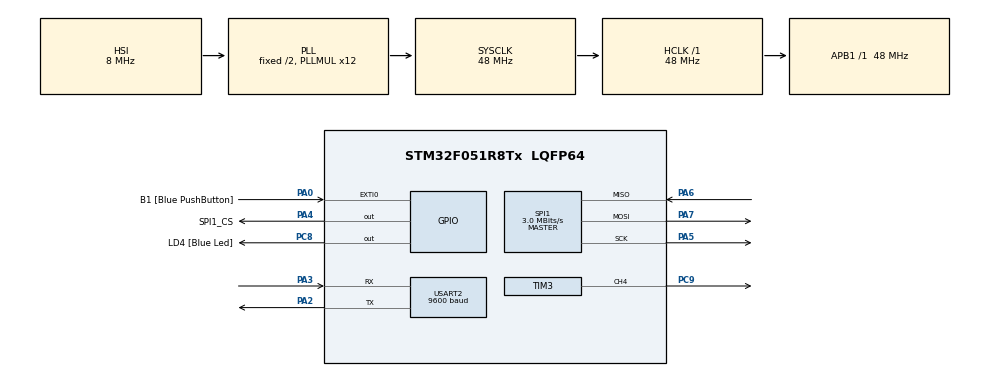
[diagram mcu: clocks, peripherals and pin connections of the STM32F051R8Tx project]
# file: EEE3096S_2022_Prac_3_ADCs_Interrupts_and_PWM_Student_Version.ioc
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Dma.Request0=USART2_TX
Dma.USART2_TX.0.Direction=DMA_MEMORY_TO_PERIPH
Dma.USART2_TX.0.Instance=DMA1_Channel4
Dma.USART2_TX.0.MemDataAlignment=DMA_MDATAALIGN_BYTE
Dma.USART2_TX.0.MemInc=DMA_MINC_ENABLE
Dma.USART2_TX.0.Mode=DMA_NORMAL
Dma.USART2_TX.0.PeriphDataAlignment=DMA_PDATAALIGN_BYTE
Dma.USART2_TX.0.PeriphInc=DMA_PINC_DISABLE
Dma.USART2_TX.0.Priority=DMA_PRIORITY_LOW
Mcu.Family=STM32F0
Mcu.Name=STM32F051R8Tx
Mcu.Package=LQFP64
NVIC.DMA1_Channel4_5_IRQn=true\:0\:0\:false\:false\:true\:false\:true\:true
NVIC.EXTI0_1_IRQn=true\:0\:0\:false\:false\:true\:true\:true\:true
NVIC.USART2_IRQn=true\:0\:0\:false\:false\:true\:true\:true\:true
PA0.GPIO_Label=B1 [Blue PushButton]
PA0.GPIO_ModeDefaultEXTI=GPIO_MODE_IT_FALLING
PA0.Signal=GPXTI0
PA13.GPIO_Label=SWDIO
PA13.Mode=Serial_Wire
PA13.Signal=SYS_SWDIO
PA14.GPIO_Label=SWCLK
PA14.Mode=Serial_Wire
PA14.Signal=SYS_SWCLK
PA2.Mode=Asynchronous
PA2.Signal=USART2_TX
PA3.Mode=Asynchronous
PA3.Signal=USART2_RX
PA4.GPIO_Label=SPI1_CS
PA4.Signal=GPIO_Output
PA5.Mode=Full_Duplex_Master
PA5.Signal=SPI1_SCK
PA6.Mode=Full_Duplex_Master
PA6.Signal=SPI1_MISO
PA7.Mode=Full_Duplex_Master
PA7.Signal=SPI1_MOSI
PC14-OSC32_IN.Mode=LSE-External-Oscillator
PC14-OSC32_IN.Signal=RCC_OSC32_IN
PC15-OSC32_OUT.Mode=LSE-External-Oscillator
PC15-OSC32_OUT.Signal=RCC_OSC32_OUT
PC8.GPIO_Label=LD4 [Blue Led]
PC8.Signal=GPIO_Output
PC9.Signal=S_TIM3_CH4
PF0-OSC_IN.Mode=HSE-External-Oscillator
PF0-OSC_IN.Signal=RCC_OSC_IN
PF1-OSC_OUT.Mode=HSE-External-Oscillator
PF1-OSC_OUT.Signal=RCC_OSC_OUT
ProjectManager.HeapSize=0x200
ProjectManager.StackSize=0x400
ProjectManager.TargetToolchain=STM32CubeIDE
RCC.AHBFreq_Value=48000000
RCC.APB1Freq_Value=48000000
RCC.APB1TimFreq_Value=48000000
RCC.HCLKFreq_Value=48000000
RCC.PLLMUL=RCC_PLL_MUL12
RCC.SYSCLKFreq_VALUE=48000000
RCC.SYSCLKSource=RCC_SYSCLKSOURCE_PLLCLK
SH.S_TIM3_CH4.0=TIM3_CH4,PWM Generation4 CH4
SPI1.BaudRatePrescaler=SPI_BAUDRATEPRESCALER_16
SPI1.CLKPhase=SPI_PHASE_2EDGE
SPI1.CLKPolarity=SPI_POLARITY_HIGH
SPI1.CalculateBaudRate=3.0 MBits/s
SPI1.DataSize=SPI_DATASIZE_8BIT
SPI1.Direction=SPI_DIRECTION_2LINES
SPI1.Mode=SPI_MODE_MASTER
SPI1.VirtualType=VM_MASTER
TIM3.AutoReloadPreload=TIM_AUTORELOAD_PRELOAD_ENABLE
TIM3.Channel-PWM\ Generation4\ CH4=TIM_CHANNEL_4
TIM3.Period=47999
USART2.BaudRate=9600
USART2.VirtualMode-Asynchronous=VM_ASYNC
VP_TIM3_VS_ClockSourceINT.Mode=Internal
board=STM32F0DISCOVERY

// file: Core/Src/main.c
/* USER CODE BEGIN Header */
/**
*******************************************************
Info:		STM32 ADCs, GPIO Interrupts and PWM with HAL
Author:		Amaan Vally
*******************************************************
In this practical you will learn to use the ADC on the STM32 using the HAL.
Here, we will be measuring the voltage on a potentiometer and using its value
to adjust the brightness of the on board LEDs. We set up an interrupt to switch the
display between the blue and green LEDs.

Code is also provided to send data from the STM32 to other devices using UART protocol
by using HAL. You will need Putty or a Python script to read from the serial port on your PC.

UART Connections are as follows: 5V->5V GND->GND RXD->PA2 TXD->PA3(unused).
Open device manager and go to Ports. Plug in the USB connector with the STM powered on.
Check the port number (COMx). Open up Putty and create a new Serial session on that COMx
with baud rate of 9600.
  ******************************************************************************
  */
/* USER CODE END Header */
#include "main.h"

/* USER CODE BEGIN Includes */
#include "icm20948.h"
#include "stdio.h"
#include <float.h>
/* USER CODE END Includes */

/* USER CODE BEGIN PD */
#define FLT_STRING_SIZE (1+1+1+(FLT_DECIMAL_DIG-1)+1+1+ 4   +1)
                     //  - d .  dddddddd           e - dddd \0
/* USER CODE END PD */

SPI_HandleTypeDef hspi1;

TIM_HandleTypeDef htim3;

UART_HandleTypeDef huart2;
DMA_HandleTypeDef hdma_usart2_tx;

/* USER CODE BEGIN PV */
char buffer[32];
static float gyro_scale_factor;
static float accel_scale_factor;
axises my_gyro;
axises my_accel;
axises my_mag;
//TO DO:
//TASK 1
//Create global variables for debouncing and delay interval

/* USER CODE END PV */

void SystemClock_Config(void);
static void MX_GPIO_Init(void);
static void MX_DMA_Init(void);
static void MX_USART2_UART_Init(void);
static void MX_TIM3_Init(void);
static void MX_SPI1_Init(void);
/* USER CODE BEGIN PFP */
void EXTI0_1_IRQHandler(void);
uint32_t pollADC(void);
uint32_t ADCtoCRR(uint32_t adc_val);

static void     cs_high();
static void     cs_low();

static void     select_user_bank(userbank ub);

static uint8_t  read_single_icm20948_reg(userbank ub, uint8_t reg);
static void     write_single_icm20948_reg(userbank ub, uint8_t reg, uint8_t val);
static uint8_t* read_multiple_icm20948_reg(userbank ub, uint8_t reg, uint8_t len);
static void     write_multiple_icm20948_reg(userbank ub, uint8_t reg, uint8_t* val, uint8_t len);

static uint8_t  read_single_ak09916_reg(uint8_t reg);
static void     write_single_ak09916_reg(uint8_t reg, uint8_t val);
static uint8_t* read_multiple_ak09916_reg(uint8_t reg, uint8_t len);
/* USER CODE END PFP */

int main(void)
{

  /* MCU Configuration--------------------------------------------------------*/

  /* Reset of all peripherals, Initializes the Flash interface and the Systick. */
  HAL_Init();

  /* Configure the system clock */
  SystemClock_Config();

  /* Initialize all configured peripherals */
  MX_GPIO_Init();
  MX_DMA_Init();
  MX_USART2_UART_Init();
  MX_TIM3_Init();
  MX_SPI1_Init();
  /* USER CODE BEGIN 2 */
  icm20948_init();
  ak09916_init();
  //TO DO:
  //char buffer[16];
  //Create variables needed in while loop

  void debugPrintln(UART_HandleTypeDef *uart_handle,char _out[])
   {
   	HAL_GPIO_TogglePin(GPIOC, GPIO_PIN_8);
   	HAL_UART_Transmit(uart_handle, (uint8_t *) _out,strlen(_out), 60);
   	char newline[2] = "\r\n";
   	HAL_UART_Transmit(uart_handle, (uint8_t *)newline, 2, 10);

   }

  uint16_t accel_data[3];
  uint16_t gyro_data[3];
  int16_t mag_data[3];
  /* USER CODE END 2 */

  /* Infinite loop */
  /* USER CODE BEGIN WHILE */
  while (1)
  {
	 // EXTI0_1_IRQHandler();
	  HAL_GPIO_TogglePin(GPIOC, GPIO_PIN_8); // Toggle blue LED
	  //pollADC();
	  //TO DO:
	  //TASK 2
	  //Test your pollADC function and display via UART

	 			  // raw data
	 			        icm20948_gyro_read(&my_gyro);
	 			        accel_data[0] = my_gyro.x;
	 			        float x = my_gyro.x;
	 			        sprintf(buffer, "%.*e", FLT_DECIMAL_DIG-1, x);
	 			       snprintf(buffer, sizeof(buffer), "%f",x );
	 			       //sprintf(buffer, "hello world");
	 			        icm20948_accel_read(&my_accel);
	 			        ak09916_mag_read(&my_mag);

	 			    debugPrintln(&huart2, buffer);

	 			        // or unit conversion
	 			        //icm20948_gyro_read_dps(&my_gyro);
	 			        //icm20948_accel_read_g(&my_accel);
	 			        //ak09916_mag_read_uT(&my_mag);
	 			        // Indicate End of Sequence with "Z"
	 			        //HAL_UART_Transmit(&huart2, (uint8_t*)"Z", sizeof("Z"), 1000);
	 			        HAL_Delay(1500); // Delay for 100ms

    /* USER CODE END WHILE */

  }
}

void SystemClock_Config(void)
{
  RCC_OscInitTypeDef RCC_OscInitStruct = {0};
  RCC_ClkInitTypeDef RCC_ClkInitStruct = {0};

  /** Initializes the RCC Oscillators according to the specified parameters
  * in the RCC_OscInitTypeDef structure.
  */
  RCC_OscInitStruct.OscillatorType = RCC_OSCILLATORTYPE_HSI;
  RCC_OscInitStruct.HSIState = RCC_HSI_ON;
  RCC_OscInitStruct.HSICalibrationValue = RCC_HSICALIBRATION_DEFAULT;
  RCC_OscInitStruct.PLL.PLLState = RCC_PLL_ON;
  RCC_OscInitStruct.PLL.PLLSource = RCC_PLLSOURCE_HSI;
  RCC_OscInitStruct.PLL.PLLMUL = RCC_PLL_MUL12;
  RCC_OscInitStruct.PLL.PREDIV = RCC_PREDIV_DIV1;
  if (HAL_RCC_OscConfig(&RCC_OscInitStruct) != HAL_OK)
  {
    Error_Handler();
  }

  /** Initializes the CPU, AHB and APB buses clocks
  */
  RCC_ClkInitStruct.ClockType = RCC_CLOCKTYPE_HCLK|RCC_CLOCKTYPE_SYSCLK
                              |RCC_CLOCKTYPE_PCLK1;
  RCC_ClkInitStruct.SYSCLKSource = RCC_SYSCLKSOURCE_PLLCLK;
  RCC_ClkInitStruct.AHBCLKDivider = RCC_SYSCLK_DIV1;
  RCC_ClkInitStruct.APB1CLKDivider = RCC_HCLK_DIV1;

  if (HAL_RCC_ClockConfig(&RCC_ClkInitStruct, FLASH_LATENCY_1) != HAL_OK)
  {
    Error_Handler();
  }
}

static void MX_SPI1_Init(void)
{

  /* SPI1 parameter configuration*/
  hspi1.Instance = SPI1;
  hspi1.Init.Mode = SPI_MODE_MASTER;
  hspi1.Init.Direction = SPI_DIRECTION_2LINES;
  hspi1.Init.DataSize = SPI_DATASIZE_8BIT;
  hspi1.Init.CLKPolarity = SPI_POLARITY_HIGH;
  hspi1.Init.CLKPhase = SPI_PHASE_2EDGE;
  hspi1.Init.NSS = SPI_NSS_SOFT;
  hspi1.Init.BaudRatePrescaler = SPI_BAUDRATEPRESCALER_16;
  hspi1.Init.FirstBit = SPI_FIRSTBIT_MSB;
  hspi1.Init.TIMode = SPI_TIMODE_DISABLE;
  hspi1.Init.CRCCalculation = SPI_CRCCALCULATION_DISABLE;
  hspi1.Init.CRCPolynomial = 7;
  hspi1.Init.CRCLength = SPI_CRC_LENGTH_DATASIZE;
  hspi1.Init.NSSPMode = SPI_NSS_PULSE_DISABLE;
  if (HAL_SPI_Init(&hspi1) != HAL_OK)
  {
    Error_Handler();
  }

}

static void MX_TIM3_Init(void)
{

  TIM_ClockConfigTypeDef sClockSourceConfig = {0};
  TIM_MasterConfigTypeDef sMasterConfig = {0};
  TIM_OC_InitTypeDef sConfigOC = {0};

  htim3.Instance = TIM3;
  htim3.Init.Prescaler = 0;
  htim3.Init.CounterMode = TIM_COUNTERMODE_UP;
  htim3.Init.Period = 47999;
  htim3.Init.ClockDivision = TIM_CLOCKDIVISION_DIV1;
  htim3.Init.AutoReloadPreload = TIM_AUTORELOAD_PRELOAD_ENABLE;
  if (HAL_TIM_Base_Init(&htim3) != HAL_OK)
  {
    Error_Handler();
  }
  sClockSourceConfig.ClockSource = TIM_CLOCKSOURCE_INTERNAL;
  if (HAL_TIM_ConfigClockSource(&htim3, &sClockSourceConfig) != HAL_OK)
  {
    Error_Handler();
  }
  if (HAL_TIM_PWM_Init(&htim3) != HAL_OK)
  {
    Error_Handler();
  }
  sMasterConfig.MasterOutputTrigger = TIM_TRGO_RESET;
  sMasterConfig.MasterSlaveMode = TIM_MASTERSLAVEMODE_DISABLE;
  if (HAL_TIMEx_MasterConfigSynchronization(&htim3, &sMasterConfig) != HAL_OK)
  {
    Error_Handler();
  }
  sConfigOC.OCMode = TIM_OCMODE_PWM1;
  sConfigOC.Pulse = 0;
  sConfigOC.OCPolarity = TIM_OCPOLARITY_HIGH;
  sConfigOC.OCFastMode = TIM_OCFAST_DISABLE;
  if (HAL_TIM_PWM_ConfigChannel(&htim3, &sConfigOC, TIM_CHANNEL_4) != HAL_OK)
  {
    Error_Handler();
  }
  HAL_TIM_MspPostInit(&htim3);

}

static void MX_USART2_UART_Init(void)
{

  huart2.Instance = USART2;
  huart2.Init.BaudRate = 9600;
  huart2.Init.WordLength = UART_WORDLENGTH_8B;
  huart2.Init.StopBits = UART_STOPBITS_1;
  huart2.Init.Parity = UART_PARITY_NONE;
  huart2.Init.Mode = UART_MODE_TX_RX;
  huart2.Init.HwFlowCtl = UART_HWCONTROL_NONE;
  huart2.Init.OverSampling = UART_OVERSAMPLING_16;
  huart2.Init.OneBitSampling = UART_ONE_BIT_SAMPLE_DISABLE;
  huart2.AdvancedInit.AdvFeatureInit = UART_ADVFEATURE_NO_INIT;
  if (HAL_UART_Init(&huart2) != HAL_OK)
  {
    Error_Handler();
  }

}

static void MX_DMA_Init(void)
{

  /* DMA controller clock enable */
  __HAL_RCC_DMA1_CLK_ENABLE();

  /* DMA interrupt init */
  /* DMA1_Channel4_5_IRQn interrupt configuration */
  HAL_NVIC_SetPriority(DMA1_Channel4_5_IRQn, 0, 0);
  HAL_NVIC_EnableIRQ(DMA1_Channel4_5_IRQn);

}

static void MX_GPIO_Init(void)
{
  GPIO_InitTypeDef GPIO_InitStruct = {0};

  /* GPIO Ports Clock Enable */
  __HAL_RCC_GPIOC_CLK_ENABLE();
  __HAL_RCC_GPIOF_CLK_ENABLE();
  __HAL_RCC_GPIOA_CLK_ENABLE();

  /*Configure GPIO pin Output Level */
  HAL_GPIO_WritePin(SPI1_CS_GPIO_Port, SPI1_CS_Pin, GPIO_PIN_RESET);

  /*Configure GPIO pin Output Level */
  HAL_GPIO_WritePin(LD4_GPIO_Port, LD4_Pin, GPIO_PIN_RESET);

  /*Configure GPIO pin : B1_Pin */
  GPIO_InitStruct.Pin = B1_Pin;
  GPIO_InitStruct.Mode = GPIO_MODE_IT_FALLING;
  GPIO_InitStruct.Pull = GPIO_NOPULL;
  HAL_GPIO_Init(B1_GPIO_Port, &GPIO_InitStruct);

  /*Configure GPIO pin : SPI1_CS_Pin */
  GPIO_InitStruct.Pin = SPI1_CS_Pin;
  GPIO_InitStruct.Mode = GPIO_MODE_OUTPUT_PP;
  GPIO_InitStruct.Pull = GPIO_NOPULL;
  GPIO_InitStruct.Speed = GPIO_SPEED_FREQ_LOW;
  HAL_GPIO_Init(SPI1_CS_GPIO_Port, &GPIO_InitStruct);

  /*Configure GPIO pin : LD4_Pin */
  GPIO_InitStruct.Pin = LD4_Pin;
  GPIO_InitStruct.Mode = GPIO_MODE_OUTPUT_PP;
  GPIO_InitStruct.Pull = GPIO_NOPULL;
  GPIO_InitStruct.Speed = GPIO_SPEED_FREQ_LOW;
  HAL_GPIO_Init(LD4_GPIO_Port, &GPIO_InitStruct);

  /* EXTI interrupt init*/
  HAL_NVIC_SetPriority(EXTI0_1_IRQn, 0, 0);
  HAL_NVIC_EnableIRQ(EXTI0_1_IRQn);

}

/* USER CODE BEGIN 4 */

/* Main Functions */
void icm20948_init()
{
	while(!icm20948_who_am_i());

	icm20948_device_reset();
	icm20948_wakeup();

	icm20948_clock_source(1);
	icm20948_odr_align_enable();

	icm20948_spi_slave_enable();

	icm20948_gyro_low_pass_filter(0);
	icm20948_accel_low_pass_filter(0);

	icm20948_gyro_sample_rate_divider(0);
	icm20948_accel_sample_rate_divider(0);

	icm20948_gyro_calibration();
	icm20948_accel_calibration();

	icm20948_gyro_full_scale_select(_2000dps);
	icm20948_accel_full_scale_select(_16g);
}

void ak09916_init()
{
	icm20948_i2c_master_reset();
	icm20948_i2c_master_enable();
	icm20948_i2c_master_clk_frq(7);

	while(!ak09916_who_am_i());

	ak09916_soft_reset();
	ak09916_operation_mode_setting(continuous_measurement_100hz);
}

void icm20948_gyro_read(axises* data)
{
	uint8_t* temp = read_multiple_icm20948_reg(ub_0, B0_GYRO_XOUT_H, 6);

	data->x = (int16_t)(temp[0] << 8 | temp[1]);
	data->y = (int16_t)(temp[2] << 8 | temp[3]);
	data->z = (int16_t)(temp[4] << 8 | temp[5]);
}

void icm20948_accel_read(axises* data)
{
	uint8_t* temp = read_multiple_icm20948_reg(ub_0, B0_ACCEL_XOUT_H, 6);

	data->x = (int16_t)(temp[0] << 8 | temp[1]);
	data->y = (int16_t)(temp[2] << 8 | temp[3]);
	data->z = (int16_t)(temp[4] << 8 | temp[5]) + accel_scale_factor;
	// Add scale factor because calibraiton function offset gravity acceleration.
}

bool ak09916_mag_read(axises* data)
{
	uint8_t* temp;
	uint8_t drdy, hofl;	// data ready, overflow

	drdy = read_single_ak09916_reg(MAG_ST1) & 0x01;
	if(!drdy)	return false;

	temp = read_multiple_ak09916_reg(MAG_HXL, 6);

	hofl = read_single_ak09916_reg(MAG_ST2) & 0x08;
	if(hofl)	return false;

	data->x = (int16_t)(temp[1] << 8 | temp[0]);
	data->y = (int16_t)(temp[3] << 8 | temp[2]);
	data->z = (int16_t)(temp[5] << 8 | temp[4]);

	return true;
}

void icm20948_gyro_read_dps(axises* data)
{
	icm20948_gyro_read(data);

	data->x /= gyro_scale_factor;
	data->y /= gyro_scale_factor;
	data->z /= gyro_scale_factor;
}

void icm20948_accel_read_g(axises* data)
{
	icm20948_accel_read(data);

	data->x /= accel_scale_factor;
	data->y /= accel_scale_factor;
	data->z /= accel_scale_factor;
}

bool ak09916_mag_read_uT(axises* data)
{
	axises temp;
	bool new_data = ak09916_mag_read(&temp);
	if(!new_data)	return false;

	data->x = (float)(temp.x * 0.15);
	data->y = (float)(temp.y * 0.15);
	data->z = (float)(temp.z * 0.15);

	return true;
}

/* Sub Functions */
bool icm20948_who_am_i()
{
	uint8_t icm20948_id = read_single_icm20948_reg(ub_0, B0_WHO_AM_I);

	if(icm20948_id == ICM20948_ID)
		return true;
	else
		return false;
}

bool ak09916_who_am_i()
{
	uint8_t ak09916_id = read_single_ak09916_reg(MAG_WIA2);

	if(ak09916_id == AK09916_ID)
		return true;
	else
		return false;
}

void icm20948_device_reset()
{
	write_single_icm20948_reg(ub_0, B0_PWR_MGMT_1, 0x80 | 0x41);
	HAL_Delay(100);
}

void ak09916_soft_reset()
{
	write_single_ak09916_reg(MAG_CNTL3, 0x01);
	HAL_Delay(100);
}

void icm20948_wakeup()
{
	uint8_t new_val = read_single_icm20948_reg(ub_0, B0_PWR_MGMT_1);
	new_val &= 0xBF;

	write_single_icm20948_reg(ub_0, B0_PWR_MGMT_1, new_val);
	HAL_Delay(100);
}

void icm20948_sleep()
{
	uint8_t new_val = read_single_icm20948_reg(ub_0, B0_PWR_MGMT_1);
	new_val |= 0x40;

	write_single_icm20948_reg(ub_0, B0_PWR_MGMT_1, new_val);
	HAL_Delay(100);
}

void icm20948_spi_slave_enable()
{
	uint8_t new_val = read_single_icm20948_reg(ub_0, B0_USER_CTRL);
	new_val |= 0x10;

	write_single_icm20948_reg(ub_0, B0_USER_CTRL, new_val);
}

void icm20948_i2c_master_reset()
{
	uint8_t new_val = read_single_icm20948_reg(ub_0, B0_USER_CTRL);
	new_val |= 0x02;

	write_single_icm20948_reg(ub_0, B0_USER_CTRL, new_val);
}

void icm20948_i2c_master_enable()
{
	uint8_t new_val = read_single_icm20948_reg(ub_0, B0_USER_CTRL);
	new_val |= 0x20;

	write_single_icm20948_reg(ub_0, B0_USER_CTRL, new_val);
	HAL_Delay(100);
}

void icm20948_i2c_master_clk_frq(uint8_t config)
{
	uint8_t new_val = read_single_icm20948_reg(ub_3, B3_I2C_MST_CTRL);
	new_val |= config;

	write_single_icm20948_reg(ub_3, B3_I2C_MST_CTRL, new_val);
}

void icm20948_clock_source(uint8_t source)
{
	uint8_t new_val = read_single_icm20948_reg(ub_0, B0_PWR_MGMT_1);
	new_val |= source;

	write_single_icm20948_reg(ub_0, B0_PWR_MGMT_1, new_val);
}

void icm20948_odr_align_enable()
{
	write_single_icm20948_reg(ub_2, B2_ODR_ALIGN_EN, 0x01);
}

void icm20948_gyro_low_pass_filter(uint8_t config)
{
	uint8_t new_val = read_single_icm20948_reg(ub_2, B2_GYRO_CONFIG_1);
	new_val |= config << 3;

	write_single_icm20948_reg(ub_2, B2_GYRO_CONFIG_1, new_val);
}

void icm20948_accel_low_pass_filter(uint8_t config)
{
	uint8_t new_val = read_single_icm20948_reg(ub_2, B2_ACCEL_CONFIG);
	new_val |= config << 3;

	write_single_icm20948_reg(ub_2, B2_GYRO_CONFIG_1, new_val);
}

void icm20948_gyro_sample_rate_divider(uint8_t divider)
{
	write_single_icm20948_reg(ub_2, B2_GYRO_SMPLRT_DIV, divider);
}

void icm20948_accel_sample_rate_divider(uint16_t divider)
{
	uint8_t divider_1 = (uint8_t)(divider >> 8);
	uint8_t divider_2 = (uint8_t)(0x0F & divider);

	write_single_icm20948_reg(ub_2, B2_ACCEL_SMPLRT_DIV_1, divider_1);
	write_single_icm20948_reg(ub_2, B2_ACCEL_SMPLRT_DIV_2, divider_2);
}

void ak09916_operation_mode_setting(operation_mode mode)
{
	write_single_ak09916_reg(MAG_CNTL2, mode);
	HAL_Delay(100);
}

void icm20948_gyro_calibration()
{
	axises temp;
	int32_t gyro_bias[3] = {0};
	uint8_t gyro_offset[6] = {0};

	for(int i = 0; i < 100; i++)
	{
		icm20948_gyro_read(&temp);
		gyro_bias[0] += temp.x;
		gyro_bias[1] += temp.y;
		gyro_bias[2] += temp.z;
	}

	gyro_bias[0] /= 100;
	gyro_bias[1] /= 100;
	gyro_bias[2] /= 100;

	// Construct the gyro biases for push to the hardware gyro bias registers,
	// which are reset to zero upon device startup.
	// Divide by 4 to get 32.9 LSB per deg/s to conform to expected bias input format.
	// Biases are additive, so change sign on calculated average gyro biases
	gyro_offset[0] = (-gyro_bias[0] / 4  >> 8) & 0xFF;
	gyro_offset[1] = (-gyro_bias[0] / 4)       & 0xFF;
	gyro_offset[2] = (-gyro_bias[1] / 4  >> 8) & 0xFF;
	gyro_offset[3] = (-gyro_bias[1] / 4)       & 0xFF;
	gyro_offset[4] = (-gyro_bias[2] / 4  >> 8) & 0xFF;
	gyro_offset[5] = (-gyro_bias[2] / 4)       & 0xFF;

	write_multiple_icm20948_reg(ub_2, B2_XG_OFFS_USRH, gyro_offset, 6);
}

void icm20948_accel_calibration()
{
	axises temp;
	uint8_t* temp2;
	uint8_t* temp3;
	uint8_t* temp4;

	int32_t accel_bias[3] = {0};
	int32_t accel_bias_reg[3] = {0};
	uint8_t accel_offset[6] = {0};

	for(int i = 0; i < 100; i++)
	{
		icm20948_accel_read(&temp);
		accel_bias[0] += temp.x;
		accel_bias[1] += temp.y;
		accel_bias[2] += temp.z;
	}

	accel_bias[0] /= 100;
	accel_bias[1] /= 100;
	accel_bias[2] /= 100;

	uint8_t mask_bit[3] = {0, 0, 0};

	temp2 = read_multiple_icm20948_reg(ub_1, B1_XA_OFFS_H, 2);
	accel_bias_reg[0] = (int32_t)(temp2[0] << 8 | temp2[1]);
	mask_bit[0] = temp2[1] & 0x01;

	temp3 = read_multiple_icm20948_reg(ub_1, B1_YA_OFFS_H, 2);
	accel_bias_reg[1] = (int32_t)(temp3[0] << 8 | temp3[1]);
	mask_bit[1] = temp3[1] & 0x01;

	temp4 = read_multiple_icm20948_reg(ub_1, B1_ZA_OFFS_H, 2);
	accel_bias_reg[2] = (int32_t)(temp4[0] << 8 | temp4[1]);
	mask_bit[2] = temp4[1] & 0x01;

	accel_bias_reg[0] -= (accel_bias[0] / 8);
	accel_bias_reg[1] -= (accel_bias[1] / 8);
	accel_bias_reg[2] -= (accel_bias[2] / 8);

	accel_offset[0] = (accel_bias_reg[0] >> 8) & 0xFF;
  	accel_offset[1] = (accel_bias_reg[0])      & 0xFE;
	accel_offset[1] = accel_offset[1] | mask_bit[0];

	accel_offset[2] = (accel_bias_reg[1] >> 8) & 0xFF;
  	accel_offset[3] = (accel_bias_reg[1])      & 0xFE;
	accel_offset[3] = accel_offset[3] | mask_bit[1];

	accel_offset[4] = (accel_bias_reg[2] >> 8) & 0xFF;
	accel_offset[5] = (accel_bias_reg[2])      & 0xFE;
	accel_offset[5] = accel_offset[5] | mask_bit[2];

	write_multiple_icm20948_reg(ub_1, B1_XA_OFFS_H, &accel_offset[0], 2);
	write_multiple_icm20948_reg(ub_1, B1_YA_OFFS_H, &accel_offset[2], 2);
	write_multiple_icm20948_reg(ub_1, B1_ZA_OFFS_H, &accel_offset[4], 2);
}

void icm20948_gyro_full_scale_select(gyro_full_scale full_scale)
{
	uint8_t new_val = read_single_icm20948_reg(ub_2, B2_GYRO_CONFIG_1);

	switch(full_scale)
	{
		case _250dps :
			new_val |= 0x00;
			gyro_scale_factor = 131.0;
			break;
		case _500dps :
			new_val |= 0x02;
			gyro_scale_factor = 65.5;
			break;
		case _1000dps :
			new_val |= 0x04;
			gyro_scale_factor = 32.8;
			break;
		case _2000dps :
			new_val |= 0x06;
			gyro_scale_factor = 16.4;
			break;
	}

	write_single_icm20948_reg(ub_2, B2_GYRO_CONFIG_1, new_val);
}

void icm20948_accel_full_scale_select(accel_full_scale full_scale)
{
	uint8_t new_val = read_single_icm20948_reg(ub_2, B2_ACCEL_CONFIG);

	switch(full_scale)
	{
		case _2g :
			new_val |= 0x00;
			accel_scale_factor = 16384;
			break;
		case _4g :
			new_val |= 0x02;
			accel_scale_factor = 8192;
			break;
		case _8g :
			new_val |= 0x04;
			accel_scale_factor = 4096;
			break;
		case _16g :
			new_val |= 0x06;
			accel_scale_factor = 2048;
			break;
	}

	write_single_icm20948_reg(ub_2, B2_ACCEL_CONFIG, new_val);
}

/* Static Functions */
static void cs_high()
{
	HAL_GPIO_WritePin(ICM20948_SPI_CS_PIN_PORT, ICM20948_SPI_CS_PIN_NUMBER, SET);
}

static void cs_low()
{
	HAL_GPIO_WritePin(ICM20948_SPI_CS_PIN_PORT, ICM20948_SPI_CS_PIN_NUMBER, RESET);
}

static void select_user_bank(userbank ub)
{
	uint8_t write_reg[2];
	write_reg[0] = WRITE | REG_BANK_SEL;
	write_reg[1] = ub;

	cs_low();
	HAL_SPI_Transmit(ICM20948_SPI, write_reg, 2, 10);
	cs_high();
}

static uint8_t read_single_icm20948_reg(userbank ub, uint8_t reg)
{
	uint8_t read_reg = READ | reg;
	uint8_t reg_val;
	select_user_bank(ub);

	cs_low();
	HAL_SPI_Transmit(ICM20948_SPI, &read_reg, 1, 1000);
	HAL_SPI_Receive(ICM20948_SPI, &reg_val, 1, 1000);
	cs_high();

	return reg_val;
}

static void write_single_icm20948_reg(userbank ub, uint8_t reg, uint8_t val)
{
	uint8_t write_reg[2];
	write_reg[0] = WRITE | reg;
	write_reg[1] = val;

	select_user_bank(ub);

	cs_low();
	HAL_SPI_Transmit(ICM20948_SPI, write_reg, 2, 1000);
	cs_high();
}

static uint8_t* read_multiple_icm20948_reg(userbank ub, uint8_t reg, uint8_t len)
{
	uint8_t read_reg = READ | reg;
	static uint8_t reg_val[6];
	select_user_bank(ub);

	cs_low();
	HAL_SPI_Transmit(ICM20948_SPI, &read_reg, 1, 1000);
	HAL_SPI_Receive(ICM20948_SPI, reg_val, len, 1000);
	cs_high();

	return reg_val;
}

static void write_multiple_icm20948_reg(userbank ub, uint8_t reg, uint8_t* val, uint8_t len)
{
	uint8_t write_reg = WRITE | reg;
	select_user_bank(ub);

	cs_low();
	HAL_SPI_Transmit(ICM20948_SPI, &write_reg, 1, 1000);
	HAL_SPI_Transmit(ICM20948_SPI, val, len, 1000);
	cs_high();
}

static uint8_t read_single_ak09916_reg(uint8_t reg)
{
	write_single_icm20948_reg(ub_3, B3_I2C_SLV0_ADDR, READ | MAG_SLAVE_ADDR);
	write_single_icm20948_reg(ub_3, B3_I2C_SLV0_REG, reg);
	write_single_icm20948_reg(ub_3, B3_I2C_SLV0_CTRL, 0x81);

	HAL_Delay(1);
	return read_single_icm20948_reg(ub_0, B0_EXT_SLV_SENS_DATA_00);
}

static void write_single_ak09916_reg(uint8_t reg, uint8_t val)
{
	write_single_icm20948_reg(ub_3, B3_I2C_SLV0_ADDR, WRITE | MAG_SLAVE_ADDR);
	write_single_icm20948_reg(ub_3, B3_I2C_SLV0_REG, reg);
	write_single_icm20948_reg(ub_3, B3_I2C_SLV0_DO, val);
	write_single_icm20948_reg(ub_3, B3_I2C_SLV0_CTRL, 0x81);
}

static uint8_t* read_multiple_ak09916_reg(uint8_t reg, uint8_t len)
{
	write_single_icm20948_reg(ub_3, B3_I2C_SLV0_ADDR, READ | MAG_SLAVE_ADDR);
	write_single_icm20948_reg(ub_3, B3_I2C_SLV0_REG, reg);
	write_single_icm20948_reg(ub_3, B3_I2C_SLV0_CTRL, 0x80 | len);

	HAL_Delay(1);
	return read_multiple_icm20948_reg(ub_0, B0_EXT_SLV_SENS_DATA_00, len);
}

/* USER CODE END 4 */

void Error_Handler(void)
{
  __disable_irq();
  while (1)
  {
  }
}
